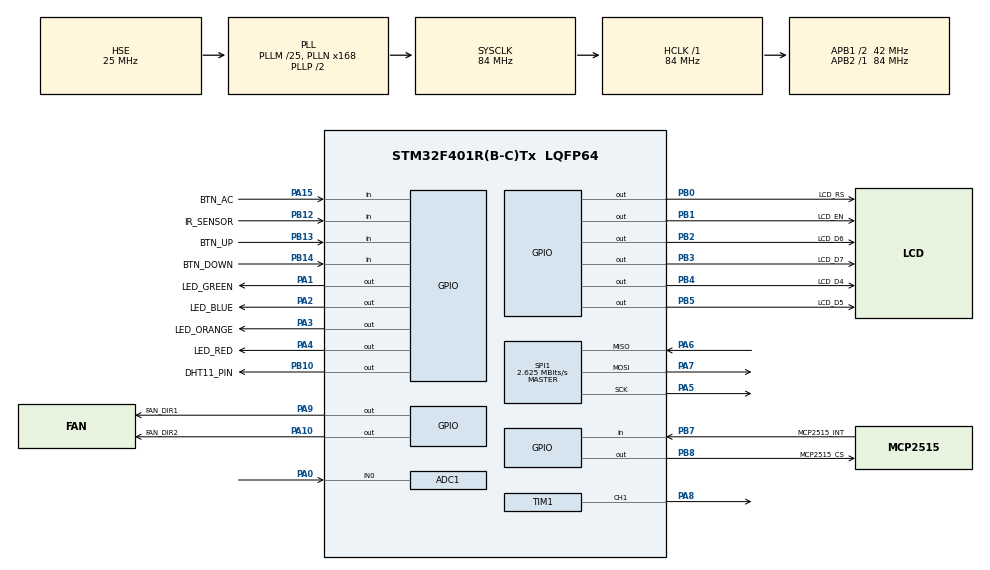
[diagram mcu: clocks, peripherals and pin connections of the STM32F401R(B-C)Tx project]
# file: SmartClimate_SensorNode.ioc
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ADC1.Channel-0\#ChannelRegularConversion=ADC_CHANNEL_0
ADC1.ContinuousConvMode=ENABLE
ADC1.NbrOfConversion=1
ADC1.NbrOfConversionFlag=1
ADC1.Rank-0\#ChannelRegularConversion=1
ADC1.SamplingTime-0\#ChannelRegularConversion=ADC_SAMPLETIME_84CYCLES
ADC1.master=1
Mcu.Family=STM32F4
Mcu.Name=STM32F401R(B-C)Tx
Mcu.Package=LQFP64
NVIC.PriorityGroup=NVIC_PRIORITYGROUP_4
PA0-WKUP.Signal=ADCx_IN0
PA1.GPIO_Label=LED_GREEN
PA1.Signal=GPIO_Output
PA10.GPIO_Label=FAN_DIR2
PA10.Signal=GPIO_Output
PA13.Mode=Serial_Wire
PA13.Signal=SYS_JTMS-SWDIO
PA14.Mode=Serial_Wire
PA14.Signal=SYS_JTCK-SWCLK
PA15.GPIO_Label=BTN_AC
PA15.GPIO_PuPd=GPIO_PULLUP
PA15.Signal=GPIO_Input
PA2.GPIO_Label=LED_BLUE
PA2.Signal=GPIO_Output
PA3.GPIO_Label=LED_ORANGE
PA3.Signal=GPIO_Output
PA4.GPIO_Label=LED_RED
PA4.Signal=GPIO_Output
PA5.Mode=Full_Duplex_Master
PA5.Signal=SPI1_SCK
PA6.Mode=Full_Duplex_Master
PA6.Signal=SPI1_MISO
PA7.Mode=Full_Duplex_Master
PA7.Signal=SPI1_MOSI
PA8.Signal=S_TIM1_CH1
PA9.GPIO_Label=FAN_DIR1
PA9.Signal=GPIO_Output
PB0.GPIO_Label=LCD_RS
PB0.Signal=GPIO_Output
PB1.GPIO_Label=LCD_EN
PB1.Signal=GPIO_Output
PB10.GPIO_Label=DHT11_PIN
PB10.Signal=GPIO_Output
PB12.GPIO_Label=IR_SENSOR
PB12.GPIO_PuPd=GPIO_PULLUP
PB12.Signal=GPIO_Input
PB13.GPIO_Label=BTN_UP
PB13.GPIO_PuPd=GPIO_PULLUP
PB13.Signal=GPIO_Input
PB14.GPIO_Label=BTN_DOWN
PB14.GPIO_PuPd=GPIO_PULLUP
PB14.Signal=GPIO_Input
PB2.GPIO_Label=LCD_D6
PB2.Signal=GPIO_Output
PB3.GPIO_Label=LCD_D7
PB3.Signal=GPIO_Output
PB4.GPIO_Label=LCD_D4
PB4.Signal=GPIO_Output
PB5.GPIO_Label=LCD_D5
PB5.Signal=GPIO_Output
PB7.GPIO_Label=MCP2515_INT
PB7.Signal=GPIO_Input
PB8.GPIO_Label=MCP2515_CS
PB8.PinState=GPIO_PIN_SET
PB8.Signal=GPIO_Output
PH0\ -\ OSC_IN.Mode=HSE-External-Oscillator
PH0\ -\ OSC_IN.Signal=RCC_OSC_IN
PH1\ -\ OSC_OUT.Mode=HSE-External-Oscillator
PH1\ -\ OSC_OUT.Signal=RCC_OSC_OUT
ProjectManager.HeapSize=0x200
ProjectManager.StackSize=0x400
ProjectManager.TargetToolchain=STM32CubeIDE
RCC.48MHZClocksFreq_Value=42000000
RCC.AHBFreq_Value=84000000
RCC.APB1CLKDivider=RCC_HCLK_DIV2
RCC.APB1Freq_Value=42000000
RCC.APB1TimFreq_Value=84000000
RCC.APB2Freq_Value=84000000
RCC.APB2TimFreq_Value=84000000
RCC.CortexFreq_Value=84000000
RCC.HCLKFreq_Value=84000000
RCC.HSE_VALUE=25000000
RCC.HSI_VALUE=16000000
RCC.LSE_VALUE=32768
RCC.PLLM=25
RCC.PLLN=168
RCC.PLLSourceVirtual=RCC_PLLSOURCE_HSE
RCC.SYSCLKFreq_VALUE=84000000
RCC.SYSCLKSource=RCC_SYSCLKSOURCE_PLLCLK
RCC.VCOOutputFreq_Value=168000000
SH.ADCx_IN0.0=ADC1_IN0,IN0
SH.S_TIM1_CH1.0=TIM1_CH1,PWM Generation1 CH1
SPI1.BaudRatePrescaler=SPI_BAUDRATEPRESCALER_32
SPI1.CalculateBaudRate=2.625 MBits/s
SPI1.Direction=SPI_DIRECTION_2LINES
SPI1.Mode=SPI_MODE_MASTER
SPI1.VirtualType=VM_MASTER
TIM1.Channel-PWM\ Generation1\ CH1=TIM_CHANNEL_1
TIM1.Period=999
TIM1.Prescaler=83
TIM2.AutoReloadPreload=TIM_AUTORELOAD_PRELOAD_ENABLE
TIM2.Prescaler=83
VP_TIM1_VS_ClockSourceINT.Mode=Internal
VP_TIM2_VS_ClockSourceINT.Mode=Internal
board=custom

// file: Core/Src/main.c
/* USER CODE BEGIN Header */
/**
  ******************************************************************************
  * @file           : main.c
  * @brief          : Main program body
  ******************************************************************************
  */
/* USER CODE END Header */

#include "main.h"
#include "adc.h"
#include "spi.h"
#include "tim.h"
#include "gpio.h"
#include "mcp2515.h"

/* USER CODE BEGIN Includes */
#include <string.h>
#include <stdio.h>
#include <stdint.h>
/* USER CODE END Includes */

/* USER CODE BEGIN PV */
uint8_t dht11_temp = 0;
uint8_t dht11_hum = 0;
uint8_t dht11_valid = 0;

uint8_t seat_occupied = 1;
uint16_t fan_pwm = 0;
uint8_t ac_mode = 0;
uint16_t manual_fan_pwm = 0;

uint8_t manual_mode = 0;
uint32_t manual_last_action = 0;
uint32_t btn_last_tick[3] = {0, 0, 0};

#define BTN_DEBOUNCE_MS 200
#define MANUAL_TIMEOUT_MS 10000

char lcd_line1[17];
char lcd_line2[17];
/* USER CODE END PV */

void SystemClock_Config(void);

/* USER CODE BEGIN 0 */
void delay_us(uint16_t us)
{
    __HAL_TIM_SET_COUNTER(&htim2, 0);
    while (__HAL_TIM_GET_COUNTER(&htim2) < us);
}

void DHT11_SetOutput(void)
{
    GPIO_InitTypeDef g = {0};
    g.Pin = DHT11_PIN_Pin;
    g.Mode = GPIO_MODE_OUTPUT_PP;
    g.Pull = GPIO_NOPULL;
    g.Speed = GPIO_SPEED_FREQ_HIGH;
    HAL_GPIO_Init(DHT11_PIN_GPIO_Port, &g);
}

void DHT11_SetInput(void)
{
    GPIO_InitTypeDef g = {0};
    g.Pin = DHT11_PIN_Pin;
    g.Mode = GPIO_MODE_INPUT;
    g.Pull = GPIO_PULLUP;
    HAL_GPIO_Init(DHT11_PIN_GPIO_Port, &g);
}

uint8_t DHT11_Read(uint8_t *temp, uint8_t *hum)
{
    uint8_t data[5] = {0, 0, 0, 0, 0};
    uint32_t timeout;

    DHT11_SetOutput();
    HAL_GPIO_WritePin(DHT11_PIN_GPIO_Port, DHT11_PIN_Pin, GPIO_PIN_RESET);
    HAL_Delay(18);
    HAL_GPIO_WritePin(DHT11_PIN_GPIO_Port, DHT11_PIN_Pin, GPIO_PIN_SET);
    delay_us(30);
    DHT11_SetInput();

    timeout = 0;
    while (HAL_GPIO_ReadPin(DHT11_PIN_GPIO_Port, DHT11_PIN_Pin) == GPIO_PIN_SET)
        if (++timeout > 10000) return 0;

    timeout = 0;
    while (HAL_GPIO_ReadPin(DHT11_PIN_GPIO_Port, DHT11_PIN_Pin) == GPIO_PIN_RESET)
        if (++timeout > 10000) return 0;

    timeout = 0;
    while (HAL_GPIO_ReadPin(DHT11_PIN_GPIO_Port, DHT11_PIN_Pin) == GPIO_PIN_SET)
        if (++timeout > 10000) return 0;

    for (int byte = 0; byte < 5; byte++) {
        for (int bit = 7; bit >= 0; bit--) {
            timeout = 0;
            while (HAL_GPIO_ReadPin(DHT11_PIN_GPIO_Port, DHT11_PIN_Pin) == GPIO_PIN_RESET)
                if (++timeout > 10000) return 0;

            delay_us(40);

            if (HAL_GPIO_ReadPin(DHT11_PIN_GPIO_Port, DHT11_PIN_Pin) == GPIO_PIN_SET) {
                data[byte] |= (1 << bit);

                timeout = 0;
                while (HAL_GPIO_ReadPin(DHT11_PIN_GPIO_Port, DHT11_PIN_Pin) == GPIO_PIN_SET)
                    if (++timeout > 10000) return 0;
            }
        }
    }

    if (data[4] != (uint8_t)(data[0] + data[1] + data[2] + data[3]))
        return 0;

    *hum = data[0];
    *temp = data[2];
    return 1;
}

void LCD_PulseEnable(void)
{
    HAL_GPIO_WritePin(LCD_EN_GPIO_Port, LCD_EN_Pin, GPIO_PIN_SET);
    delay_us(1);
    HAL_GPIO_WritePin(LCD_EN_GPIO_Port, LCD_EN_Pin, GPIO_PIN_RESET);
    delay_us(50);
}

void LCD_WriteNibble(uint8_t nibble)
{
    HAL_GPIO_WritePin(LCD_D4_GPIO_Port, LCD_D4_Pin, (nibble >> 0) & 1);
    HAL_GPIO_WritePin(LCD_D5_GPIO_Port, LCD_D5_Pin, (nibble >> 1) & 1);
    HAL_GPIO_WritePin(LCD_D6_GPIO_Port, LCD_D6_Pin, (nibble >> 2) & 1);
    HAL_GPIO_WritePin(LCD_D7_GPIO_Port, LCD_D7_Pin, (nibble >> 3) & 1);
    LCD_PulseEnable();
}

void LCD_SendByte(uint8_t data, uint8_t is_data)
{
    HAL_GPIO_WritePin(LCD_RS_GPIO_Port, LCD_RS_Pin, is_data);
    LCD_WriteNibble(data >> 4);
    LCD_WriteNibble(data & 0x0F);
}

void LCD_Init(void)
{
    HAL_Delay(50);

    HAL_GPIO_WritePin(LCD_RS_GPIO_Port, LCD_RS_Pin, GPIO_PIN_RESET);
    HAL_GPIO_WritePin(LCD_EN_GPIO_Port, LCD_EN_Pin, GPIO_PIN_RESET);

    LCD_WriteNibble(0x03); HAL_Delay(5);
    LCD_WriteNibble(0x03); delay_us(150);
    LCD_WriteNibble(0x03); delay_us(150);
    LCD_WriteNibble(0x02);

    LCD_SendByte(0x28, 0);
    LCD_SendByte(0x0C, 0);
    LCD_SendByte(0x06, 0);
    LCD_SendByte(0x01, 0);
    HAL_Delay(2);
}

void LCD_SetCursor(uint8_t col, uint8_t row)
{
    uint8_t addr = (row == 0) ? 0x00 : 0x40;
    LCD_SendByte(0x80 | (addr + col), 0);
}

void LCD_Print(char *str)
{
    while (*str) LCD_SendByte((uint8_t)*str++, 1);
}

void LCD_Clear(void)
{
    LCD_SendByte(0x01, 0);
    HAL_Delay(2);
}
/* USER CODE END 0 */

int main(void)
{
    HAL_Init();
    SystemClock_Config();

    MX_GPIO_Init();
    MX_ADC1_Init();
    MX_SPI1_Init();

    HAL_GPIO_WritePin(MCP2515_CS_GPIO_Port, MCP2515_CS_Pin, GPIO_PIN_SET);
    HAL_Delay(100);

    MX_TIM1_Init();
    MX_TIM2_Init();

    HAL_TIM_Base_Start(&htim2);
    HAL_TIM_PWM_Start(&htim1, TIM_CHANNEL_1);

    HAL_GPIO_WritePin(FAN_DIR1_GPIO_Port, FAN_DIR1_Pin, GPIO_PIN_SET);
    HAL_GPIO_WritePin(FAN_DIR2_GPIO_Port, FAN_DIR2_Pin, GPIO_PIN_RESET);

    LCD_Init();

    LCD_SetCursor(0, 0);
    LCD_Print("Smart Climate   ");
    LCD_SetCursor(0, 1);
    LCD_Print("Starting...     ");
    HAL_Delay(1500);
    LCD_Clear();

    MCP2515_Init();

    while (1)
    {
        static uint32_t dht_last = 0;
        if (HAL_GetTick() - dht_last > 2000) {
            dht11_valid = DHT11_Read(&dht11_temp, &dht11_hum);
            dht_last = HAL_GetTick();
        }

        seat_occupied = (HAL_GPIO_ReadPin(IR_SENSOR_GPIO_Port, IR_SENSOR_Pin) == GPIO_PIN_RESET) ? 1 : 0;

        float temp = (dht11_valid && dht11_temp > 0) ? (float)dht11_temp : 25.0f;
        uint8_t hum = dht11_valid ? dht11_hum : 50;

        uint16_t auto_fan_pwm = 0;
        uint8_t auto_ac_mode = 0;

        if (!seat_occupied) {
            auto_fan_pwm = 0;
            auto_ac_mode = 0;
        } else if (temp >= 30.0f) {
            auto_fan_pwm = 999;
            auto_ac_mode = 1;
        } else if (temp >= 28.0f) {
            auto_fan_pwm = 800;
            auto_ac_mode = 1;
        } else if (temp >= 26.0f) {
            auto_fan_pwm = 600;
            auto_ac_mode = 1;
        } else if (temp >= 24.0f) {
            auto_fan_pwm = 400;
            auto_ac_mode = 0;
        } else if (temp >= 22.0f) {
            auto_fan_pwm = 250;
            auto_ac_mode = 0;
        } else {
            auto_fan_pwm = 0;
            auto_ac_mode = 0;
        }

        if (hum > 70 && auto_fan_pwm < 999) {
            auto_fan_pwm += 100;
        }

        if (auto_fan_pwm > 999) {
            auto_fan_pwm = 999;
        }

        uint32_t now = HAL_GetTick();

        if (seat_occupied &&
            HAL_GPIO_ReadPin(BTN_UP_GPIO_Port, BTN_UP_Pin) == GPIO_PIN_RESET &&
            now - btn_last_tick[0] > BTN_DEBOUNCE_MS) {

            btn_last_tick[0] = now;

            if (!manual_mode) {
                manual_fan_pwm = auto_fan_pwm;
            }

            manual_mode = 1;
            manual_last_action = now;

            manual_fan_pwm = (manual_fan_pwm + 200 > 999) ? 999 : manual_fan_pwm + 200;
        }

        if (seat_occupied &&
            HAL_GPIO_ReadPin(BTN_DOWN_GPIO_Port, BTN_DOWN_Pin) == GPIO_PIN_RESET &&
            now - btn_last_tick[1] > BTN_DEBOUNCE_MS) {

            btn_last_tick[1] = now;

            if (!manual_mode) {
                manual_fan_pwm = auto_fan_pwm;
            }

            manual_mode = 1;
            manual_last_action = now;

            manual_fan_pwm = (manual_fan_pwm < 200) ? 0 : manual_fan_pwm - 200;
        }

        if (seat_occupied &&
            HAL_GPIO_ReadPin(BTN_AC_GPIO_Port, BTN_AC_Pin) == GPIO_PIN_RESET &&
            now - btn_last_tick[2] > BTN_DEBOUNCE_MS) {

            btn_last_tick[2] = now;
            manual_mode = 1;
            manual_last_action = now;
            ac_mode ^= 1;
        }

        if (manual_mode && now - manual_last_action > MANUAL_TIMEOUT_MS) {
            manual_mode = 0;
        }

        if (manual_mode) {
            fan_pwm = manual_fan_pwm;
        } else {
            fan_pwm = auto_fan_pwm;
            ac_mode = auto_ac_mode;
        }

        if (!seat_occupied) {
            fan_pwm = 0;
            ac_mode = 0;
            manual_mode = 0;
            manual_fan_pwm = 0;
        }

        __HAL_TIM_SET_COMPARE(&htim1, TIM_CHANNEL_1, fan_pwm);

        HAL_GPIO_WritePin(LED_GREEN_GPIO_Port, LED_GREEN_Pin, seat_occupied ? GPIO_PIN_SET : GPIO_PIN_RESET);
        HAL_GPIO_WritePin(LED_BLUE_GPIO_Port, LED_BLUE_Pin, ac_mode ? GPIO_PIN_SET : GPIO_PIN_RESET);
        HAL_GPIO_WritePin(LED_ORANGE_GPIO_Port, LED_ORANGE_Pin, (temp >= 28.0f) ? GPIO_PIN_SET : GPIO_PIN_RESET);
        HAL_GPIO_WritePin(LED_RED_GPIO_Port, LED_RED_Pin, !dht11_valid ? GPIO_PIN_SET : GPIO_PIN_RESET);

        static uint32_t lcd_last = 0;
        if (HAL_GetTick() - lcd_last > 500) {
            lcd_last = HAL_GetTick();

            snprintf(lcd_line1, 17, "T:%dC H:%d%%      ", dht11_temp, dht11_hum);
            LCD_SetCursor(0, 0);
            LCD_Print(lcd_line1);

            snprintf(lcd_line2, 17, "%s F:%d%% %s   ",
                     manual_mode ? "MAN " : "AUTO",
                     (int)(fan_pwm * 100 / 999),
                     ac_mode ? "AC" : "OFF");

            LCD_SetCursor(0, 1);
            LCD_Print(lcd_line2);
        }

        static uint32_t can_last = 0;
        if (HAL_GetTick() - can_last > 1000) {
            can_last = HAL_GetTick();

            uint8_t can_data[5];

            can_data[0] = dht11_temp;
            can_data[1] = dht11_hum;
            can_data[2] = (fan_pwm * 100) / 999;
            can_data[3] = ac_mode;
            can_data[4] = seat_occupied;

            MCP2515_SendMessage(0x123, can_data, 5);
        }

        HAL_Delay(50);
    }
}

void SystemClock_Config(void)
{
    RCC_OscInitTypeDef RCC_OscInitStruct = {0};
    RCC_ClkInitTypeDef RCC_ClkInitStruct = {0};

    __HAL_RCC_PWR_CLK_ENABLE();
    __HAL_PWR_VOLTAGESCALING_CONFIG(PWR_REGULATOR_VOLTAGE_SCALE2);

    RCC_OscInitStruct.OscillatorType = RCC_OSCILLATORTYPE_HSE;
    RCC_OscInitStruct.HSEState = RCC_HSE_ON;
    RCC_OscInitStruct.PLL.PLLState = RCC_PLL_ON;
    RCC_OscInitStruct.PLL.PLLSource = RCC_PLLSOURCE_HSE;
    RCC_OscInitStruct.PLL.PLLM = 25;
    RCC_OscInitStruct.PLL.PLLN = 168;
    RCC_OscInitStruct.PLL.PLLP = RCC_PLLP_DIV2;
    RCC_OscInitStruct.PLL.PLLQ = 4;

    if (HAL_RCC_OscConfig(&RCC_OscInitStruct) != HAL_OK) {
        Error_Handler();
    }

    RCC_ClkInitStruct.ClockType = RCC_CLOCKTYPE_HCLK | RCC_CLOCKTYPE_SYSCLK
                                | RCC_CLOCKTYPE_PCLK1 | RCC_CLOCKTYPE_PCLK2;

    RCC_ClkInitStruct.SYSCLKSource = RCC_SYSCLKSOURCE_PLLCLK;
    RCC_ClkInitStruct.AHBCLKDivider = RCC_SYSCLK_DIV1;
    RCC_ClkInitStruct.APB1CLKDivider = RCC_HCLK_DIV2;
    RCC_ClkInitStruct.APB2CLKDivider = RCC_HCLK_DIV1;

    if (HAL_RCC_ClockConfig(&RCC_ClkInitStruct, FLASH_LATENCY_2) != HAL_OK) {
        Error_Handler();
    }
}

void Error_Handler(void)
{
    __disable_irq();
    while (1)
    {
    }
}
